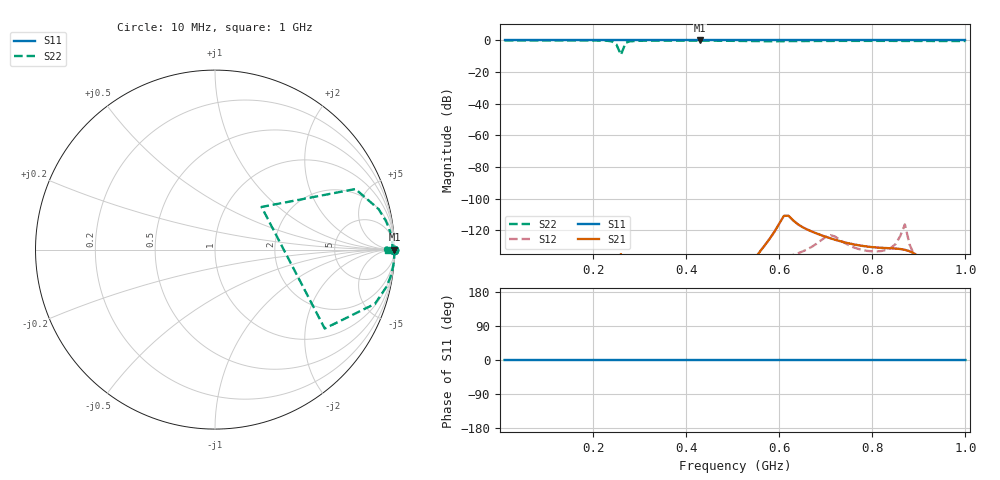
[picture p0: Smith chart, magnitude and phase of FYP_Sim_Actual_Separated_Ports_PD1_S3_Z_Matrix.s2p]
! Touchstone file from project FYP_Sim_Actual_Separated_Ports
! Exported from HFSS 13.0.2
# GHZ Z MA R 50.000000
! Terminal data exported
! Port[1] = PD1_Void_Port_T1
! Port[2] = Radiating_Plate_T1
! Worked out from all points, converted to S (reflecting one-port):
!   100 points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, 10 MHz to 1 GHz, reference 50 ohm
!   lowest |S11| = 0.0 dB at 430 MHz (marker M1)
!   phase of S11 starts at -0 deg and turns -0 deg over the sweep
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0.01  4.008e+05 -90.0  0.0002404 -29.2  0.0002404 -29.2  819.5 -89.3
0.12  3.339e+04 -90.0  0.0004245 57.6  0.0006739 65.2  57.44 -89.0
0.18  2.226e+04 -90.0  0.001442 -174.9  0.001768 177.0  26.94 -88.3
0.21  1.908e+04 -90.0  0.002619 -133.7  0.002656 -134.0  15.96 -86.9
0.22  1.821e+04 -90.0  0.003027 -117.5  0.002915 -116.9  12.56 -85.8
0.23  1.742e+04 -90.0  0.003356 -100.3  0.003121 -99.6  9.231 -83.8
0.24  1.67e+04 -90.0  0.003549 -82.5  0.003262 -82.4  5.968 -79.3
0.25  1.603e+04 -90.0  0.003584 -65.0  0.003337 -65.4  2.846 -63.8
0.26  1.541e+04 -90.0  0.003487 -48.1  0.003354 -48.6  1.648 28.5
0.27  1.484e+04 -90.0  0.003305 -32.0  0.003325 -31.9  4.518 67.9
0.28  1.431e+04 -90.0  0.003079 -16.2  0.003258 -15.0  7.948 75.3
0.29  1.382e+04 -90.0  0.002838 0.2  0.003158 2.7  11.59 77.9
0.3  1.336e+04 -90.0  0.002607 18.5  0.003021 21.8  15.44 78.9
0.32  1.252e+04 -90.0  0.002421 68.4  0.002647 69.3  24.03 79.0
0.34  1.178e+04 -90.0  0.004044 133.4  0.002499 141.2  34.37 77.4
0.38  1.054e+04 -90.0  0.02591 -92.9  0.006737 -87.6  65.3 68.0
0.43  9332 -90.0  0.02025 -40.3  0.01757 -43.8  123.7 25.6
0.51  7869 -90.0  0.002406 109.9  0.01984 8.6  56.68 -23.1
0.58  6915 -90.0  0.0733 134.7  0.01651 -148.2  37.07 -3.2
0.67  5985 -90.0  0.1335 -108.4  0.04391 -47.5  47.67 17.3
0.84  4768 -90.0  0.03921 -129.2  0.04053 114.3  59.7 -4.3
1  4004 -90.0  0.001747 165.6  0.001747 165.6  50.4 -3.8
